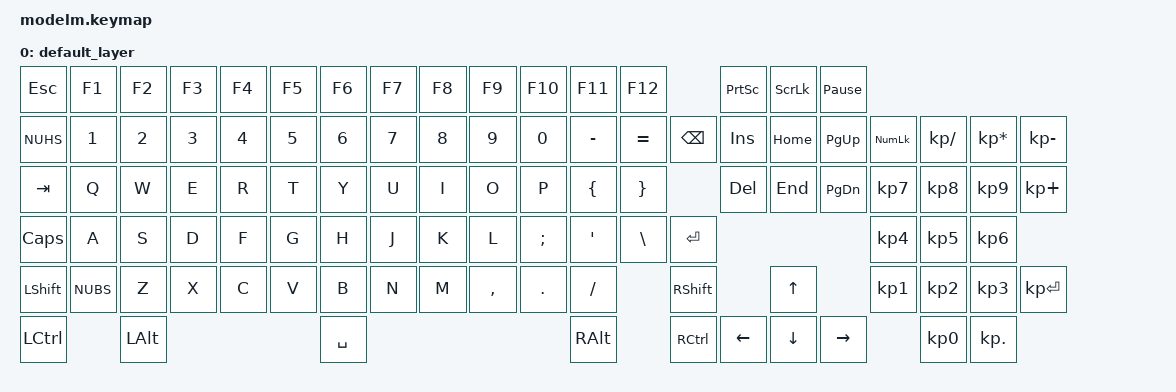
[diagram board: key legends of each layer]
#include <behaviors.dtsi>
#include <dt-bindings/zmk/keys.h>
#include <dt-bindings/zmk/bt.h>

/ {
	keymap {
		compatible = "zmk,keymap";

		default_layer {
			bindings = <
			&kp ESC      &kp F1    &kp F2    &kp F3   &kp F4   &kp F5   &kp F6     &kp F7   &kp F8   &kp F9     &kp F10  &kp F11    &kp F12                &kp PSCRN   &kp SLCK  &kp PAUSE_BREAK

			&kp NUHS     &kp N1    &kp N2    &kp N3   &kp N4   &kp N5   &kp N6     &kp N7   &kp N8   &kp N9     &kp N0   &kp MINUS  &kp EQUAL  &kp BSPC    &kp INSERT  &kp HOME  &kp PAGE_UP      &kp KP_NUMLOCK  &kp KP_SLASH  &kp KP_ASTERISK  &kp KP_MINUS
			&kp TAB      &kp Q     &kp W     &kp E    &kp R    &kp T    &kp Y      &kp U    &kp I    &kp O      &kp P    &kp LBRC   &kp RBRC               &kp DELETE  &kp END   &kp PAGE_DOWN    &kp KP_N7       &kp KP_N8     &kp KP_N9        &kp KP_PLUS
			&kp CAPS     &kp A     &kp S     &kp D    &kp F    &kp G    &kp H      &kp J    &kp K    &kp L      &kp SEMI &kp SQT    &kp BSLH   &kp ENTER                                          &kp KP_N4       &kp KP_N5     &kp KP_N6
			&kp LSHIFT   &kp NUBS  &kp Z     &kp X    &kp C    &kp V    &kp B      &kp N    &kp M    &kp COMMA  &kp DOT  &kp SLASH             &kp RSHIFT              &kp UP                     &kp KP_N1       &kp KP_N2     &kp KP_N3        &kp KP_ENTER
			&kp LCTRL              &kp LALT                             &kp SPACE                                        &kp RALT              &kp RCTRL   &kp LEFT    &kp DOWN  &kp RIGHT                        &kp KP_N0     &kp KP_DOT
			>;
		};
	};
};
